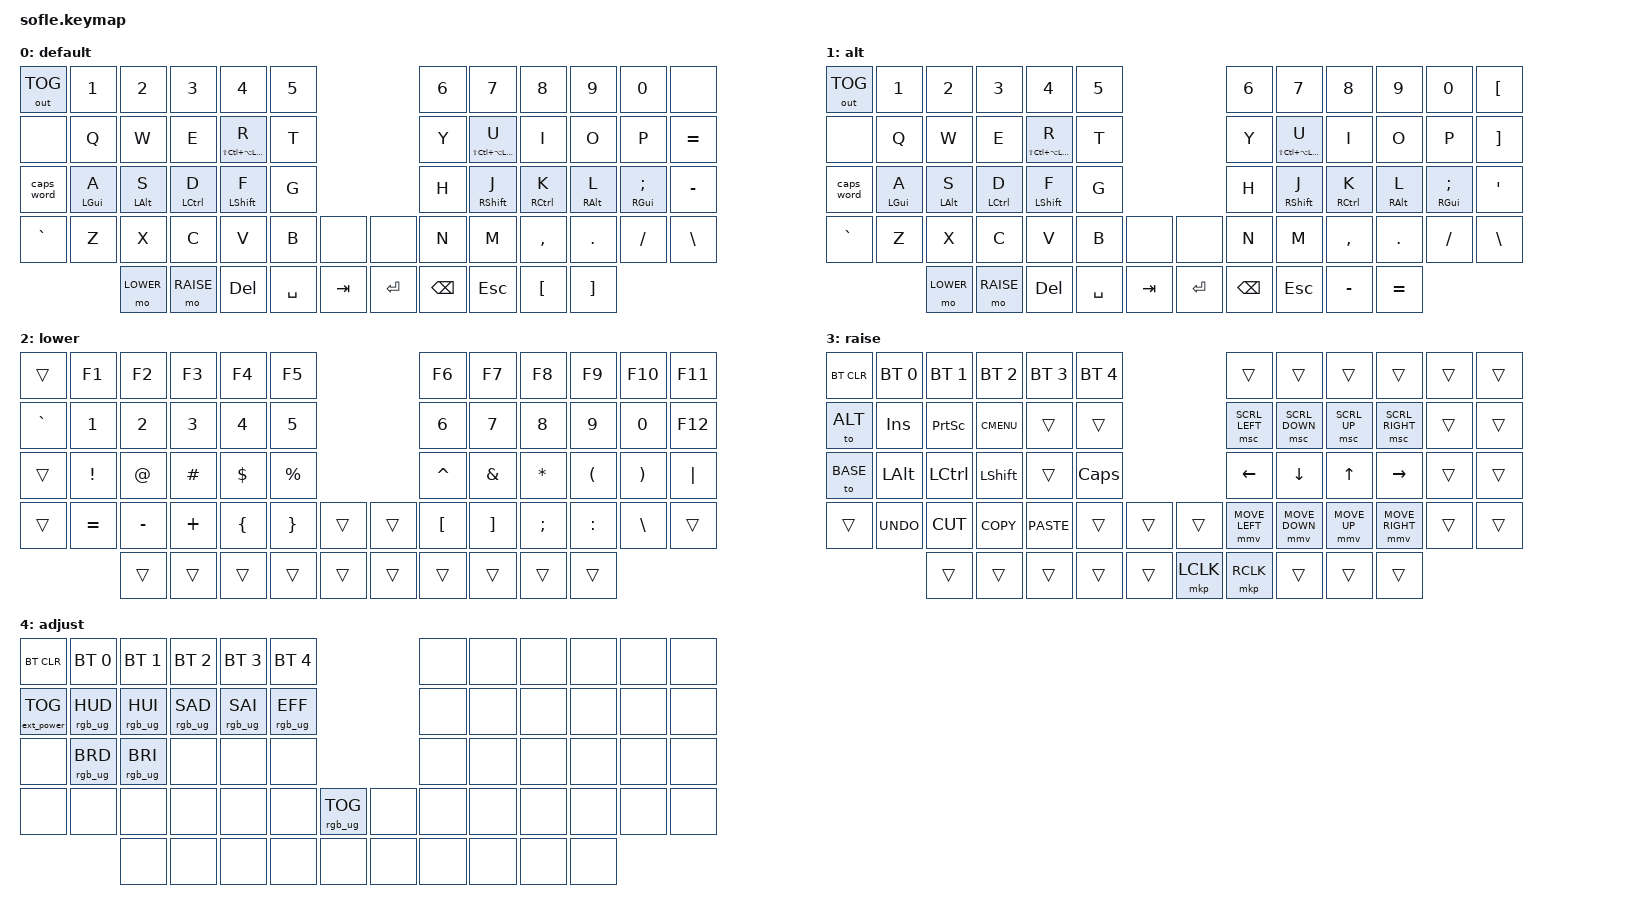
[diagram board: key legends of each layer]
/*
 * Copyright (c) 2020 The ZMK Contributors
 *
 * SPDX-License-Identifier: MIT
 */

#include <behaviors.dtsi>
#include <dt-bindings/zmk/keys.h>
#include <dt-bindings/zmk/bt.h>
#include <dt-bindings/zmk/rgb.h>
#include <dt-bindings/zmk/pointing.h>
#include <dt-bindings/zmk/ext_power.h>
#include <dt-bindings/zmk/outputs.h>
#include <zephyr/dt-bindings/input/input-event-codes.h>
#include <input/processors.dtsi>

#define BASE 0
#define ALT 1
#define LOWER 2
#define RAISE 3
#define ADJUST 4

&mmv {
    acceleration-exponent = <1>;
    time-to-max-speed-ms = <200>;
};

/ {
    behaviors {
        hm: homerow_mods {
            compatible = "zmk,behavior-hold-tap";
            #binding-cells = <2>;
            tapping-term-ms = <200>;
            quick-tap-ms = <0>;
            flavor = "tap-preferred";
            bindings = <&kp>, <&kp>;
        };
    };

   // Activate ADJUST layer by pressing raise and lower
    conditional_layers {
        compatible = "zmk,conditional-layers";
        adjust_layer {
            if-layers = <LOWER RAISE>;
            then-layer = <ADJUST>;
        };
    };

    keymap {
        compatible = "zmk,keymap";

        default_layer {
            display-name = "default";
            bindings = <
                &out OUT_TOG &kp N1     &kp N2     &kp N3      &kp N4                 &kp N5                               &kp N6     &kp N7                 &kp N8      &kp N9     &kp N0        &none
                &none        &kp Q      &kp W      &kp E       &hm LS(LC(LA(LGUI))) R &kp T                                &kp Y      &hm LS(LC(LA(LGUI))) U &kp I       &kp O      &kp P         &kp EQUAL
                &caps_word   &hm LGUI A &hm LALT S &hm LCTRL D &hm LSHFT F            &kp G                                &kp H      &hm RSHFT J            &hm RCTRL K &hm RALT L &hm RGUI SEMI &kp MINUS
                &kp GRAVE    &kp Z      &kp X      &kp C       &kp V                  &kp B      &none          &none      &kp N      &kp M                  &kp COMMA   &kp DOT    &kp FSLH      &kp BSLH
                                        &mo LOWER  &mo RAISE   &kp DEL                &kp SPACE  &kp TAB        &kp ENTER  &kp BSPC  &kp ESC                 &kp LBKT    &kp RBKT
            >;
        };

        alt_layer {
            display-name = "alt";
            bindings = <
                &out OUT_TOG &kp N1     &kp N2     &kp N3      &kp N4                 &kp N5                               &kp N6     &kp N7                 &kp N8      &kp N9     &kp N0        &kp LBKT
                &none        &kp Q      &kp W      &kp E       &hm LS(LC(LA(LGUI))) R &kp T                                &kp Y      &hm LS(LC(LA(LGUI))) U &kp I       &kp O      &kp P         &kp RBKT
                &caps_word   &hm LGUI A &hm LALT S &hm LCTRL D &hm LSHFT F            &kp G                                &kp H      &hm RSHFT J            &hm RCTRL K &hm RALT L &hm RGUI SEMI &kp SQT
                &kp GRAVE    &kp Z      &kp X      &kp C       &kp V                  &kp B      &none          &none      &kp N      &kp M                  &kp COMMA   &kp PERIOD &kp FSLH      &kp BSLH
                                        &mo LOWER  &mo RAISE   &kp DEL                &kp SPACE  &kp TAB        &kp ENTER  &kp BSPC   &kp ESC                &kp MINUS   &kp EQUAL
            >;
        };

        lower_layer {
            display-name = "lower";
            bindings = <
                &trans    &kp F1    &kp F2    &kp F3      &kp F4    &kp F5                    &kp F6    &kp F7   &kp F8    &kp F9    &kp F10   &kp F11
                &kp GRAVE &kp N1    &kp N2    &kp N3      &kp N4    &kp N5                    &kp N6    &kp N7   &kp N8    &kp N9    &kp N0    &kp F12
                &trans    &kp EXCL  &kp AT    &kp HASH    &kp DLLR  &kp PRCNT                 &kp CARET &kp AMPS &kp ASTRK &kp LPAR  &kp RPAR  &kp PIPE
                &trans    &kp EQUAL &kp MINUS &kp PLUS    &kp LBRC  &kp RBRC   &trans &trans  &kp LBKT  &kp RBKT &kp SEMI  &kp COLON &kp BSLH  &trans
                                    &trans    &trans      &trans    &trans     &trans &trans  &trans    &trans   &trans    &trans
            >;
        };

        raise_layer {
            display-name = "raise";
            bindings = <
                &bt BT_CLR  &bt BT_SEL 0 &bt BT_SEL 1 &bt BT_SEL 2 &bt BT_SEL 3 &bt BT_SEL 4                   &trans           &trans            &trans         &trans            &trans  &trans
                &to ALT     &kp INS      &kp PSCRN    &kp K_CMENU  &trans       &trans                         &msc SCRL_LEFT   &msc SCRL_DOWN    &msc SCRL_UP   &msc SCRL_RIGHT   &trans  &trans
                &to BASE    &kp LALT     &kp LCTRL    &kp LSHFT    &trans       &kp CLCK                       &kp LEFT         &kp DOWN          &kp UP         &kp RIGHT         &trans  &trans
                &trans      &kp K_UNDO   &kp K_CUT    &kp K_COPY   &kp K_PASTE  &trans        &trans &trans    &mmv MOVE_LEFT   &mmv MOVE_DOWN    &mmv MOVE_UP   &mmv MOVE_RIGHT   &trans  &trans
                                         &trans       &trans       &trans       &trans        &trans &mkp LCLK &mkp RCLK        &trans            &trans         &trans
            >;
        };

        adjust_layer {
            display-name = "adjust";
            bindings = <
                &bt BT_CLR        &bt BT_SEL 0    &bt BT_SEL 1    &bt BT_SEL 2    &bt BT_SEL 3    &bt BT_SEL 4                            &none &none &none &none &none &none
                &ext_power EP_TOG &rgb_ug RGB_HUD &rgb_ug RGB_HUI &rgb_ug RGB_SAD &rgb_ug RGB_SAI &rgb_ug RGB_EFF                         &none &none &none &none &none &none
                &none             &rgb_ug RGB_BRD &rgb_ug RGB_BRI &none           &none           &none                                   &none &none &none &none &none &none
                &none             &none           &none           &none           &none           &none            &rgb_ug RGB_TOG &none  &none &none &none &none &none &none
                                                  &none           &none           &none           &none            &none           &none  &none &none &none &none
            >;
        };

    };
};
